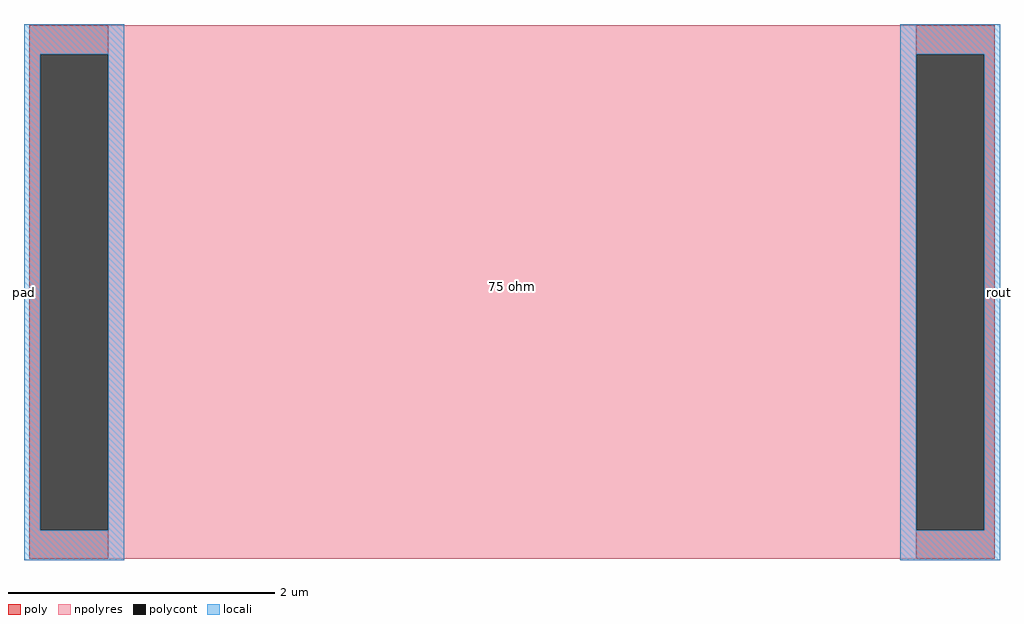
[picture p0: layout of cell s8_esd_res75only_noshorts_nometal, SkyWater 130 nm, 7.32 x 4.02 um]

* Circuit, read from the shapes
.subckt s8_esd_res75only_noshorts_nometal rout pad
R1 rout pad sky130_fd_pr__res_generic_po w=4 l=6.06
.ends

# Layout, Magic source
magic
tech sky130B
magscale 1 2
<< poly >>
rect 10 759 128 802
rect 10 45 26 759
rect 10 2 128 45
rect 1340 759 1458 802
rect 1442 45 1458 759
rect 1340 2 1458 45
<< polycont >>
rect 26 45 128 759
rect 1340 45 1442 759
<< npolyres >>
rect 128 2 1340 802
<< locali >>
rect 2 759 152 804
rect 2 45 26 759
rect 128 45 152 759
rect 2 0 152 45
rect 1316 759 1466 804
rect 1316 45 1340 759
rect 1442 45 1466 759
rect 1316 0 1466 45
<< labels >>
flabel comment s 735 410 735 410 0 FreeSans 400 0 0 0 75 ohm
flabel locali s 1464 1 1466 803 7 FreeSans 400 0 0 0 rout
port 2 nsew
flabel locali s 2 1 4 803 3 FreeSans 400 0 0 0 pad
port 3 nsew
<< properties >>
string GDS_END 89695210
string GDS_FILE $PDKPATH/libs.ref/sky130_fd_io/gds/sky130_fd_io.gds
string GDS_START 89691556
<< end >>
